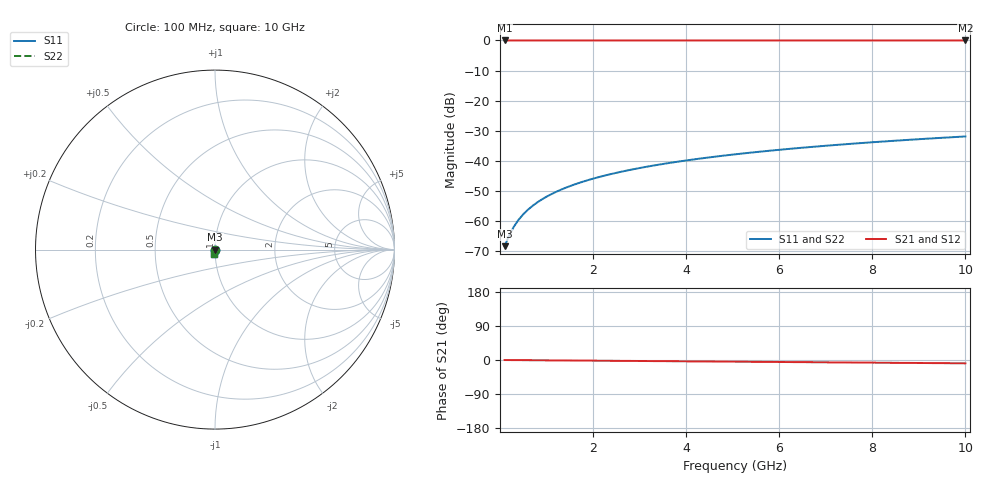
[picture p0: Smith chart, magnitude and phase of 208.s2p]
# Hz S RI R 50.00
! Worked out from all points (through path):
!   100 points, 100 MHz to 10 GHz, reference 50 ohm
!   highest |S21| = 0.00 dB at 100 MHz (marker M1); lowest = 0.0 dB at 10 GHz (marker M2)
!   group delay of S21, straight-line fit = 2.44 ps
!   lowest |S11| = -68.4 dB at 100 MHz (marker M3), VSWR 1.00, Z = 50 - j0.0252 ohm
!   |S11| at or under -10 dB: start of sweep to end of sweep
!   |S22| runs from -68.4 to -31.9 dB; largest |S21 - S12| = 0
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1e8  0.000287 -0.000252  0.9997 -0.00151  0.9997 -0.00151  0.000287 -0.000252
2e8  0.000287 -0.000504  0.9997 -0.00303  0.9997 -0.00303  0.000287 -0.000504
3e8  0.000285 -0.000755  0.9997 -0.00454  0.9997 -0.00454  0.000285 -0.000755
4e8  0.000283 -0.00101  0.9997 -0.00606  0.9997 -0.00606  0.000283 -0.00101
5e8  0.00028 -0.00126  0.9997 -0.00757  0.9997 -0.00757  0.00028 -0.00126
6e8  0.000276 -0.00151  0.9997 -0.00909  0.9997 -0.00909  0.000276 -0.00151
7e8  0.000271 -0.00176  0.9996 -0.0106  0.9996 -0.0106  0.000271 -0.00176
9e8  0.000258 -0.00227  0.9996 -0.0136  0.9996 -0.0136  0.000258 -0.00227
1e9  0.000251 -0.00252  0.9996 -0.0152  0.9996 -0.0152  0.000251 -0.00252
1.2e9  0.000234 -0.00302  0.9995 -0.0182  0.9995 -0.0182  0.000234 -0.00302
1.5e9  0.000202 -0.00378  0.9994 -0.0227  0.9994 -0.0227  0.000202 -0.00378
1.8e9  0.000163 -0.00454  0.9993 -0.0273  0.9993 -0.0273  0.000163 -0.00454
2.1e9  0.000117 -0.0053  0.9992 -0.0318  0.9992 -0.0318  0.000117 -0.0053
2.5e9  4.43e-05 -0.00631  0.9989 -0.0379  0.9989 -0.0379  4.43e-05 -0.00631
2.9e9  -4.06e-05 -0.00733  0.9987 -0.044  0.9987 -0.044  -4.06e-05 -0.00733
3.4e9  -0.000164 -0.0086  0.9983 -0.0516  0.9983 -0.0516  -0.000164 -0.0086
4.2e9  -0.000403 -0.0106  0.9976 -0.0638  0.9976 -0.0638  -0.000403 -0.0106
5.1e9  -0.000732 -0.0129  0.9965 -0.0775  0.9965 -0.0775  -0.000732 -0.0129
5.9e9  -0.00108 -0.0149  0.9955 -0.0898  0.9955 -0.0898  -0.00108 -0.0149
6.7e9  -0.00147 -0.017  0.9943 -0.102  0.9943 -0.102  -0.00147 -0.017
8.4e9  -0.00248 -0.0212  0.9911 -0.1281  0.9911 -0.1281  -0.00248 -0.0212
1e10  -0.00363 -0.0251  0.9875 -0.1526  0.9875 -0.1526  -0.00363 -0.0251
